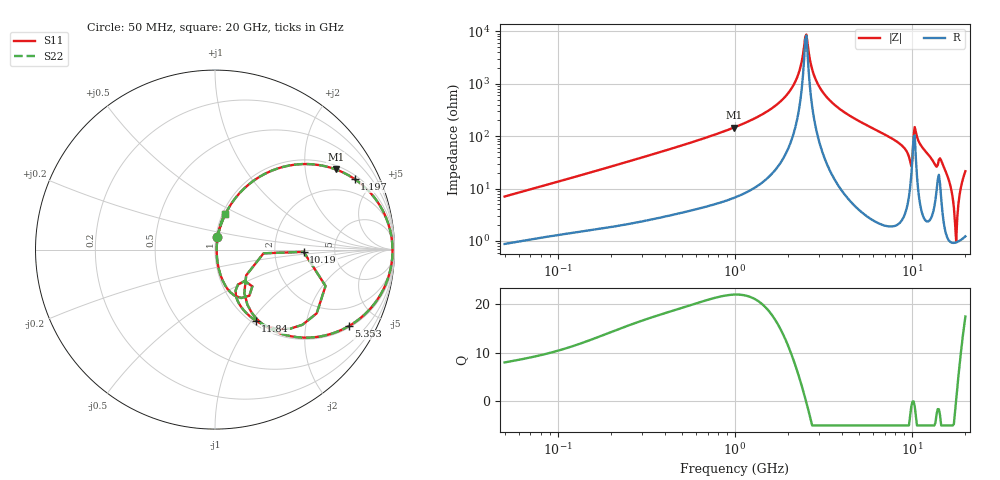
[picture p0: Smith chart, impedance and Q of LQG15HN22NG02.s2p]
!Murata Part Number: LQG15HN22NG02
!These Parameters are Measured in Series Mode Connection
!  o--[Z]--o
!Port1  Port2
!  o-------o
!Freq. Start=50[MHz] Stop=20[GHz], 401[Steps]
# Hz S RI R 50
!Freq.(Hz) S11(Real) S11(Imag) S21(Real) S21(Imag) S12(Real) S12(Imag) S22(Real) S22(Imag)
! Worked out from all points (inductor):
!   401 points, 50 MHz to 20 GHz, reference 50 ohm
!   read as one part in series: L = 22 nH near 51.52 MHz
!   highest Q = 21.9 at 985.1 MHz (marker M1), where L = 23.5 nH
!   self-resonance near 2.494 GHz
!   S11 on the Smith chart (normalised r, x): 50 MHz: 1.02, +0.14; 1.197 GHz: 1.18, +3.86; 5.353 GHz: 1.07, -3.45; 10.19 GHz: 2.95, -0.10; 11.84 GHz: 1.05, -1.05; 20 GHz: 1.02, +0.43
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5e7  0.0135 0.0685  0.9865 -0.0685  0.9865 -0.0685  0.0135 0.0685
1.364002e8  0.0455 0.1707  0.9545 -0.1707  0.9545 -0.1707  0.0455 0.1707
3.721004e8  0.2066 0.3776  0.7934 -0.3776  0.7934 -0.3776  0.2066 0.3776
9.85133e8  0.673 0.4469  0.327 -0.4469  0.327 -0.4469  0.673 0.4469
1e9  0.6814 0.4437  0.3186 -0.4437  0.3186 -0.4437  0.6814 0.4437
1.196911e9  0.778 0.3931  0.222 -0.3931  0.222 -0.3931  0.778 0.3931
2.021818e9  0.968 0.136  0.032 -0.136  0.032 -0.136  0.968 0.136
2.279204e9  0.9843 0.0627  0.0157 -0.0627  0.0157 -0.0627  0.9843 0.0627
2.493527e9  0.989 0.0061  0.011 -0.0061  0.011 -0.0061  0.989 0.0061
2.728004e9  0.987 -0.0511  0.013 0.0511  0.013 0.0511  0.987 -0.0511
3.415248e9  0.9514 -0.1927  0.0486 0.1927  0.0486 0.1927  0.9514 -0.1927
5.352748e9  0.7441 -0.427  0.2559 0.427  0.2559 0.427  0.7441 -0.427
7.442007e9  0.4818 -0.4899  0.5182 0.4899  0.5182 0.4899  0.4818 -0.4899
9.600142e9  0.1805 -0.307  0.8195 0.307  0.8195 0.307  0.1805 -0.307
1.019291e10  0.4939 -0.0124  0.5061 0.0124  0.5061 0.0124  0.4939 -0.0124
1.082228e10  0.4211 -0.4399  0.5789 0.4399  0.5789 0.4399  0.4211 -0.4399
1.183995e10  0.2268 -0.3955  0.7732 0.3955  0.7732 0.3955  0.2268 -0.3955
1.504638e10  0.0854 -0.2378  0.9146 0.2378  0.9146 0.2378  0.0854 -0.2378
1.646126e10  0.0216 -0.1086  0.9784 0.1086  0.9784 0.1086  0.0216 -0.1086
1.774144e10  0.00933 0.00334  0.9907 -0.00334  0.9907 -0.00334  0.00933 0.00334
1.912117e10  0.0265 0.124  0.9735 -0.124  0.9735 -0.124  0.0265 0.124
2e10  0.0544 0.2  0.9456 -0.2  0.9456 -0.2  0.0544 0.2
